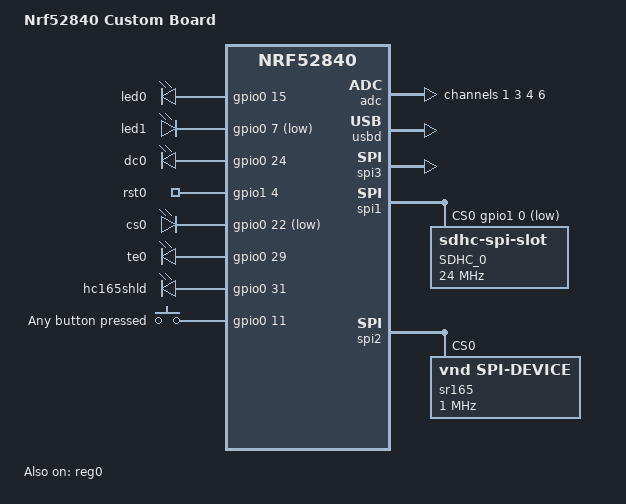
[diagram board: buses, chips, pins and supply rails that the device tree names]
/*
 * Copyright (c) 2017 Linaro Limited
 *
 * SPDX-License-Identifier: Apache-2.0
 */

/dts-v1/;
#include <nordic/nrf52840_qiaa.dtsi>
#include <nordic/nrf52840_partition.dtsi>
#include "nrf52840_custom_board_nrf52840-pinctrl.dtsi"
#include <zephyr/dt-bindings/input/input-event-codes.h>

#include <zephyr/dt-bindings/adc/adc.h>
#include <zephyr/dt-bindings/adc/nrf-adc.h>

/ {
	model = "Nrf52840 Custom Board";
	compatible = "nordic,nrf52840-custom-board-nrf52840";

	chosen {
		zephyr,console = &cdc_acm_uart0;
		zephyr,shell-uart = &cdc_acm_uart0;
		zephyr,uart-mcumgr = &cdc_acm_uart0;
		zephyr,bt-mon-uart = &cdc_acm_uart0;
		zephyr,bt-c2h-uart = &cdc_acm_uart0;
	};

	leds {
		compatible = "gpio-leds";
		led0: led_0 {
			gpios = <&gpio0 15 GPIO_ACTIVE_HIGH>;
		};
		led1: led_1 {
			gpios = <&gpio0 7 GPIO_ACTIVE_LOW>;
		};
	};

	gpios {
		compatible = "gpio-leds";
		dc0: dc_0{
			gpios = <&gpio0 24 GPIO_ACTIVE_HIGH>;
		};
		rst0: rst_0{
			gpios = <&gpio1 4 GPIO_ACTIVE_HIGH>;
		};
		cs0: cs_0{
			gpios = <&gpio0 22 GPIO_ACTIVE_LOW>;
		};
		te0: te_0{
			gpios = <&gpio0 29 (GPIO_PULL_DOWN | GPIO_ACTIVE_HIGH)>;
		};
		hc165shld: hc165shld{
			gpios = <&gpio0 31 GPIO_ACTIVE_HIGH>;
		};
	};

	buttons {
		compatible = "gpio-keys";
		button0: button_0 {
			gpios = <&gpio0 11 (GPIO_PULL_DOWN | GPIO_ACTIVE_HIGH)>;
			label = "Any button pressed";
		};
	};

	aliases {
		sw0 = &button0;
		adcctrl = &adc;
		led0 = &led0;  // is this necessary?
		led1 = &led1;  // is this necessary?
		dc0 = &dc0;
		rst0 = &rst0;
		cs0 = &cs0;
		te0 = &te0;
		bootloader-led0 = &led0; // is this necessary?
		mcuboot-button0 = &button0; // is this necessary?
		mcuboot-led0 = &led0; // is this necessary?
		watchdog0 = &wdt0; // is this necessary?
		zephyr-udc0 = &usbd;
		hc165shld = &hc165shld;
	};
};

&adc {
    #address-cells = <1>;
    #size-cells = <0>;
    status = "okay";

    // channel_0: channel@0 { reg = <0>; zephyr,gain = "ADC_GAIN_1_6"; zephyr,reference = "ADC_REF_INTERNAL"; zephyr,acquisition-time = <ADC_ACQ_TIME(ADC_ACQ_TIME_MICROSECONDS, 40)>; zephyr,input-positive = <NRF_SAADC_AIN0>; zephyr,resolution = <10>; };
    channel_1: channel@1 { reg = <1>; zephyr,gain = "ADC_GAIN_1_6"; zephyr,reference = "ADC_REF_INTERNAL"; zephyr,acquisition-time = <ADC_ACQ_TIME(ADC_ACQ_TIME_MICROSECONDS, 40)>; zephyr,input-positive = <NRF_SAADC_AIN1>; zephyr,resolution = <10>; };
    // channel_2: channel@2 { reg = <2>; zephyr,gain = "ADC_GAIN_1_6"; zephyr,reference = "ADC_REF_INTERNAL"; zephyr,acquisition-time = <ADC_ACQ_TIME(ADC_ACQ_TIME_MICROSECONDS, 40)>; zephyr,input-positive = <NRF_SAADC_AIN2>; zephyr,resolution = <10>; };
    channel_3: channel@3 { reg = <3>; zephyr,gain = "ADC_GAIN_1_6"; zephyr,reference = "ADC_REF_INTERNAL"; zephyr,acquisition-time = <ADC_ACQ_TIME(ADC_ACQ_TIME_MICROSECONDS, 40)>; zephyr,input-positive = <NRF_SAADC_AIN3>; zephyr,resolution = <10>; };
    channel_4: channel@4 { reg = <4>; zephyr,gain = "ADC_GAIN_1_6"; zephyr,reference = "ADC_REF_INTERNAL"; zephyr,acquisition-time = <ADC_ACQ_TIME(ADC_ACQ_TIME_MICROSECONDS, 40)>; zephyr,input-positive = <NRF_SAADC_AIN4>; zephyr,resolution = <10>; };
    // channel_5: channel@5 { reg = <5>; zephyr,gain = "ADC_GAIN_1_6"; zephyr,reference = "ADC_REF_INTERNAL"; zephyr,acquisition-time = <ADC_ACQ_TIME(ADC_ACQ_TIME_MICROSECONDS, 40)>; zephyr,input-positive = <NRF_SAADC_AIN5>; zephyr,resolution = <10>; };
    channel_6: channel@6 { reg = <6>; zephyr,gain = "ADC_GAIN_1_6"; zephyr,reference = "ADC_REF_INTERNAL"; zephyr,acquisition-time = <ADC_ACQ_TIME(ADC_ACQ_TIME_MICROSECONDS, 40)>; zephyr,input-positive = <NRF_SAADC_AIN6>; zephyr,resolution = <10>; };
    // channel_7: channel@7 { reg = <7>; zephyr,gain = "ADC_GAIN_1_6"; zephyr,reference = "ADC_REF_INTERNAL"; zephyr,acquisition-time = <ADC_ACQ_TIME(ADC_ACQ_TIME_MICROSECONDS, 40)>; zephyr,input-positive = <NRF_SAADC_AIN7>; zephyr,resolution = <10>; };
};

&reg0 {
	status = "okay";
};

&reg1 {
	regulator-initial-mode = <NRF5X_REG_MODE_DCDC>;
};

&gpio0 {
	status = "okay";
};

&gpio1 {
	status = "okay";
};

&uart0 {
	status = "disabled";
};

&gpiote {
	status = "okay";
};

&usbd {
    status = "okay";
    usb_device_0: usb_device_0 {
        compatible = "zephyr,usbd";
        status = "okay";
        usb_config_0: usb_config_0 {
            compatible = "zephyr,usbd-config";
			
            cdc_acm_uart0: cdc_acm_uart0 {
                compatible = "zephyr,cdc-acm-uart";
            };

            msc_0: msc_0 {
                compatible = "zephyr,usbd-msc";
            };
        };
    };
};

// Display
&spi3 {
	compatible = "nordic,nrf-spim";
	status = "okay";
	max-frequency = <DT_FREQ_M(40)>;
	pinctrl-0 = <&spi3_default>;
	pinctrl-1 = <&spi3_sleep>;
	pinctrl-names = "default", "sleep";
};

// SD card
&spi1 {
        status = "okay";
        pinctrl-0 = <&custom_spi>;
        pinctrl-1 = <&custom_spi>;
        pinctrl-names = "default", "sleep";
        cs-gpios = <&gpio1 0 GPIO_ACTIVE_LOW>;
		sdhc0: sdhc@0 {
                compatible = "zephyr,sdhc-spi-slot";
                reg = <0>;
                status = "okay";
                label = "SDHC_0";
                mmc {
						disk-name = "SD";
                        compatible = "zephyr,sdmmc-disk";
                        status = "okay";
                };
                spi-max-frequency = <24000000>;
        };
};

// Shift register for button inputs
&spi2 {
	compatible = "nordic,nrf-spim";
	status = "okay";
	max-frequency = <DT_FREQ_M(1)>;
	pinctrl-0 = <&spi_sr>;
	pinctrl-names = "default";

	sr165: sr165@0 {
        compatible = "vnd,spi-device";
        reg = <0>;
        spi-max-frequency = <1000000>; // 1Mhz, should probably be 4MHz
    };
};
